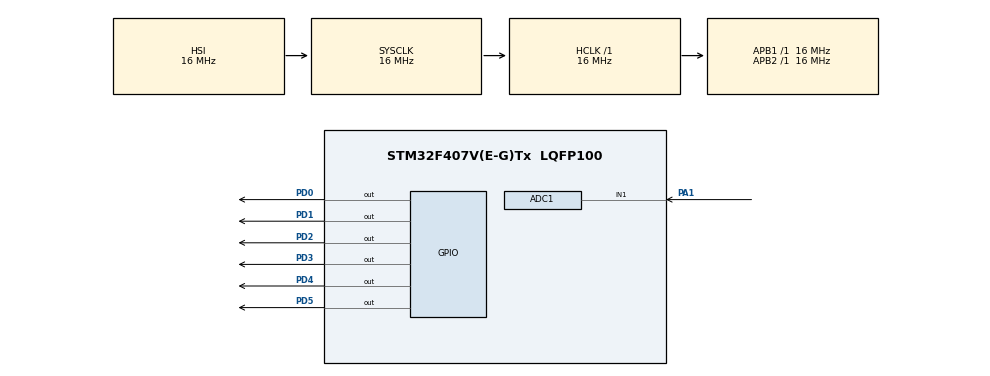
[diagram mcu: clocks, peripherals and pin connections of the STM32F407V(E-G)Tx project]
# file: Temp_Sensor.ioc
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ADC1.Channel-0\#ChannelRegularConversion=ADC_CHANNEL_1
ADC1.NbrOfConversionFlag=1
ADC1.Rank-0\#ChannelRegularConversion=1
ADC1.SamplingTime-0\#ChannelRegularConversion=ADC_SAMPLETIME_3CYCLES
ADC1.master=1
Mcu.Family=STM32F4
Mcu.Name=STM32F407V(E-G)Tx
Mcu.Package=LQFP100
NVIC.PriorityGroup=NVIC_PRIORITYGROUP_4
PA1.Signal=SharedAnalog_PA1
PD0.Signal=GPIO_Output
PD1.Signal=GPIO_Output
PD2.Signal=GPIO_Output
PD3.Signal=GPIO_Output
PD4.Signal=GPIO_Output
PD5.Signal=GPIO_Output
ProjectManager.HeapSize=0x200
ProjectManager.StackSize=0x400
ProjectManager.TargetToolchain=STM32CubeIDE
RCC.AHBFreq_Value=16000000
RCC.APB1Freq_Value=16000000
RCC.APB2Freq_Value=16000000
RCC.CortexFreq_Value=16000000
RCC.HSE_VALUE=25000000
RCC.HSI_VALUE=16000000
RCC.LSE_VALUE=32768
RCC.SYSCLKFreq_VALUE=16000000
RCC.VCOOutputFreq_Value=192000000
SH.SharedAnalog_PA1.0=GPIO_Analog
SH.SharedAnalog_PA1.1=ADC1_IN1,IN1
board=custom

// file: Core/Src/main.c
/* USER CODE BEGIN Header */
/**
  ******************************************************************************
  * @file           : main.c
  * @brief          : Main program body
  ******************************************************************************
  * @attention
  *
  * Copyright (c) 2025 STMicroelectronics.
  * All rights reserved.
  *
  * This software is licensed under terms that can be found in the LICENSE file
  * in the root directory of this software component.
  * If no LICENSE file comes with this software, it is provided AS-IS.
  *
  ******************************************************************************
  */
/* USER CODE END Header */
#include "main.h"

/* USER CODE BEGIN PTD */
// Define LCD pins (Modify if using different GPIO)
#define RS_PIN     GPIO_PIN_1
#define RS_PORT    GPIOD
#define EN_PIN     GPIO_PIN_0
#define EN_PORT    GPIOD
#define D4_PIN     GPIO_PIN_2
#define D5_PIN     GPIO_PIN_3
#define D6_PIN     GPIO_PIN_4
#define D7_PIN     GPIO_PIN_5
#define DATA_PORT  GPIOD
/* USER CODE END PTD */

ADC_HandleTypeDef hadc1;

void SystemClock_Config(void);
static void MX_GPIO_Init(void);
static void MX_ADC1_Init(void);

/* USER CODE BEGIN 0 */
uint32_t adcValue;
char buffer[16];
void LCD_EnablePulse(void);
void LCD_Send4Bits(uint8_t data);
void LCD_Command(uint8_t cmd);

// Initialize LCD
void LCD_Init(void) {
    HAL_Delay(20); // Wait for power stabilization

    LCD_Command(0x02); // Set 4-bit mode
    LCD_Command(0x28); // 2-line, 5x8 matrix
    LCD_Command(0x0C); // Display ON, Cursor OFF
    LCD_Command(0x06); // Auto increment cursor
    LCD_Command(0x01); // Clear display
    HAL_Delay(2);
}

// Send command to LCD
void LCD_Command(uint8_t cmd) {
    HAL_GPIO_WritePin(RS_PORT, RS_PIN, GPIO_PIN_RESET); // RS = 0 (Command mode)

    LCD_Send4Bits(cmd >> 4); // Send upper nibble
    LCD_Send4Bits(cmd);      // Send lower nibble
}

// Send character to LCD
void LCD_Char(uint8_t data) {
    HAL_GPIO_WritePin(RS_PORT, RS_PIN, GPIO_PIN_SET); // RS = 1 (Data mode)

    LCD_Send4Bits(data >> 4); // Send upper nibble
    LCD_Send4Bits(data);      // Send lower nibble
}

// Send string to LCD
void LCD_String(char *str) {
    while (*str) {
        LCD_Char(*str++);
    }
}

// Set cursor position
void LCD_SetCursor(uint8_t row, uint8_t col) {
    uint8_t pos = (row == 0) ? (0x80 + col) : (0xC0 + col);
    LCD_Command(pos);
}

// Clear LCD display
void LCD_Clear(void) {
    LCD_Command(0x01);
    HAL_Delay(2);
}

// Send 4-bit data
void LCD_Send4Bits(uint8_t data) {
    HAL_GPIO_WritePin(DATA_PORT, D4_PIN, (data >> 0) & 0x01);
    HAL_GPIO_WritePin(DATA_PORT, D5_PIN, (data >> 1) & 0x01);
    HAL_GPIO_WritePin(DATA_PORT, D6_PIN, (data >> 2) & 0x01);
    HAL_GPIO_WritePin(DATA_PORT, D7_PIN, (data >> 3) & 0x01);

    LCD_EnablePulse();
}

// Generate Enable Pulse
void LCD_EnablePulse(void) {
    HAL_GPIO_WritePin(EN_PORT, EN_PIN, GPIO_PIN_SET);
    HAL_Delay(1);
    HAL_GPIO_WritePin(EN_PORT, EN_PIN, GPIO_PIN_RESET);
    HAL_Delay(1);
}
/* USER CODE END 0 */

int main(void)
{

  /* MCU Configuration--------------------------------------------------------*/

  /* Reset of all peripherals, Initializes the Flash interface and the Systick. */
  HAL_Init();

  /* Configure the system clock */
  SystemClock_Config();

  /* Initialize all configured peripherals */
  MX_GPIO_Init();
  MX_ADC1_Init();
  /* USER CODE BEGIN 2 */
	LCD_Init(); // Initialize LCD
	LCD_SetCursor(0, 0);
	LCD_String("Temperature:");
  /* USER CODE END 2 */

  /* Infinite loop */
  while (1)
  {

    /* USER CODE BEGIN 3 */
		HAL_ADC_Start(&hadc1);
		if (HAL_ADC_PollForConversion(&hadc1, 100) == HAL_OK) {
			adcValue = HAL_ADC_GetValue(&hadc1);
			sprintf(buffer, "%lu.%lu", (adcValue/10), (adcValue%10));
			LCD_SetCursor(1, 0);
			LCD_String("        ");  // Clear previous value
			LCD_SetCursor(1, 0);
			LCD_String(buffer);
		}
		HAL_ADC_Stop(&hadc1);
		HAL_Delay(500);
  }
  /* USER CODE END 3 */
}

void SystemClock_Config(void)
{
  RCC_OscInitTypeDef RCC_OscInitStruct = {0};
  RCC_ClkInitTypeDef RCC_ClkInitStruct = {0};

  /** Configure the main internal regulator output voltage
  */
  __HAL_RCC_PWR_CLK_ENABLE();
  __HAL_PWR_VOLTAGESCALING_CONFIG(PWR_REGULATOR_VOLTAGE_SCALE1);

  /** Initializes the RCC Oscillators according to the specified parameters
  * in the RCC_OscInitTypeDef structure.
  */
  RCC_OscInitStruct.OscillatorType = RCC_OSCILLATORTYPE_HSI;
  RCC_OscInitStruct.HSIState = RCC_HSI_ON;
  RCC_OscInitStruct.HSICalibrationValue = RCC_HSICALIBRATION_DEFAULT;
  RCC_OscInitStruct.PLL.PLLState = RCC_PLL_NONE;
  if (HAL_RCC_OscConfig(&RCC_OscInitStruct) != HAL_OK)
  {
    Error_Handler();
  }

  /** Initializes the CPU, AHB and APB buses clocks
  */
  RCC_ClkInitStruct.ClockType = RCC_CLOCKTYPE_HCLK|RCC_CLOCKTYPE_SYSCLK
                              |RCC_CLOCKTYPE_PCLK1|RCC_CLOCKTYPE_PCLK2;
  RCC_ClkInitStruct.SYSCLKSource = RCC_SYSCLKSOURCE_HSI;
  RCC_ClkInitStruct.AHBCLKDivider = RCC_SYSCLK_DIV1;
  RCC_ClkInitStruct.APB1CLKDivider = RCC_HCLK_DIV1;
  RCC_ClkInitStruct.APB2CLKDivider = RCC_HCLK_DIV1;

  if (HAL_RCC_ClockConfig(&RCC_ClkInitStruct, FLASH_LATENCY_0) != HAL_OK)
  {
    Error_Handler();
  }
}

static void MX_ADC1_Init(void)
{

  ADC_ChannelConfTypeDef sConfig = {0};

  /** Configure the global features of the ADC (Clock, Resolution, Data Alignment and number of conversion)
  */
  hadc1.Instance = ADC1;
  hadc1.Init.ClockPrescaler = ADC_CLOCK_SYNC_PCLK_DIV2;
  hadc1.Init.Resolution = ADC_RESOLUTION_12B;
  hadc1.Init.ScanConvMode = DISABLE;
  hadc1.Init.ContinuousConvMode = DISABLE;
  hadc1.Init.DiscontinuousConvMode = DISABLE;
  hadc1.Init.ExternalTrigConvEdge = ADC_EXTERNALTRIGCONVEDGE_NONE;
  hadc1.Init.ExternalTrigConv = ADC_SOFTWARE_START;
  hadc1.Init.DataAlign = ADC_DATAALIGN_RIGHT;
  hadc1.Init.NbrOfConversion = 1;
  hadc1.Init.DMAContinuousRequests = DISABLE;
  hadc1.Init.EOCSelection = ADC_EOC_SINGLE_CONV;
  if (HAL_ADC_Init(&hadc1) != HAL_OK)
  {
    Error_Handler();
  }

  /** Configure for the selected ADC regular channel its corresponding rank in the sequencer and its sample time.
  */
  sConfig.Channel = ADC_CHANNEL_1;
  sConfig.Rank = 1;
  sConfig.SamplingTime = ADC_SAMPLETIME_3CYCLES;
  if (HAL_ADC_ConfigChannel(&hadc1, &sConfig) != HAL_OK)
  {
    Error_Handler();
  }

}

static void MX_GPIO_Init(void)
{
  GPIO_InitTypeDef GPIO_InitStruct = {0};

  /* GPIO Ports Clock Enable */
  __HAL_RCC_GPIOA_CLK_ENABLE();
  __HAL_RCC_GPIOD_CLK_ENABLE();

  /*Configure GPIO pin Output Level */
  HAL_GPIO_WritePin(GPIOD, GPIO_PIN_0|GPIO_PIN_1|GPIO_PIN_2|GPIO_PIN_3
                          |GPIO_PIN_4|GPIO_PIN_5, GPIO_PIN_RESET);

  /*Configure GPIO pins : PD0 PD1 PD2 PD3
                           PD4 PD5 */
  GPIO_InitStruct.Pin = GPIO_PIN_0|GPIO_PIN_1|GPIO_PIN_2|GPIO_PIN_3
                          |GPIO_PIN_4|GPIO_PIN_5;
  GPIO_InitStruct.Mode = GPIO_MODE_OUTPUT_PP;
  GPIO_InitStruct.Pull = GPIO_NOPULL;
  GPIO_InitStruct.Speed = GPIO_SPEED_FREQ_LOW;
  HAL_GPIO_Init(GPIOD, &GPIO_InitStruct);

}

void Error_Handler(void)
{
  __disable_irq();
  while (1)
  {
  }
}
